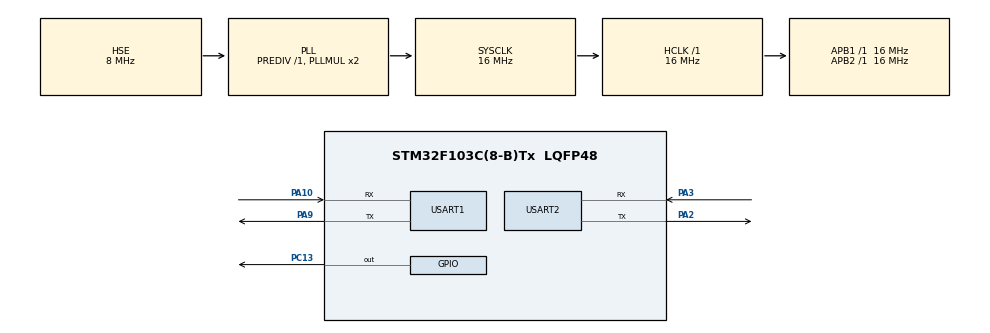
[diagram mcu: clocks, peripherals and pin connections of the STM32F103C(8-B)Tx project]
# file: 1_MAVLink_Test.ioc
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Mcu.Family=STM32F1
Mcu.Name=STM32F103C(8-B)Tx
Mcu.Package=LQFP48
NVIC.PriorityGroup=NVIC_PRIORITYGROUP_4
PA10.Mode=Asynchronous
PA10.Signal=USART1_RX
PA13.Mode=Serial_Wire
PA13.Signal=SYS_JTMS-SWDIO
PA14.Mode=Serial_Wire
PA14.Signal=SYS_JTCK-SWCLK
PA2.Mode=Asynchronous
PA2.Signal=USART2_TX
PA3.Mode=Asynchronous
PA3.Signal=USART2_RX
PA9.Mode=Asynchronous
PA9.Signal=USART1_TX
PC13-TAMPER-RTC.Signal=GPIO_Output
PD0-OSC_IN.Mode=HSE-External-Oscillator
PD0-OSC_IN.Signal=RCC_OSC_IN
PD1-OSC_OUT.Mode=HSE-External-Oscillator
PD1-OSC_OUT.Signal=RCC_OSC_OUT
ProjectManager.HeapSize=0x200
ProjectManager.StackSize=0x400
ProjectManager.TargetToolchain=MDK-ARM V5.32
RCC.AHBFreq_Value=16000000
RCC.APB1Freq_Value=16000000
RCC.APB1TimFreq_Value=16000000
RCC.APB2Freq_Value=16000000
RCC.APB2TimFreq_Value=16000000
RCC.HCLKFreq_Value=16000000
RCC.PLLSourceVirtual=RCC_PLLSOURCE_HSE
RCC.SYSCLKFreq_VALUE=16000000
RCC.SYSCLKSource=RCC_SYSCLKSOURCE_PLLCLK
RCC.USBFreq_Value=16000000
USART1.VirtualMode=VM_ASYNC
USART2.VirtualMode=VM_ASYNC
board=custom

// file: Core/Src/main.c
/* USER CODE BEGIN Header */
/**
  ******************************************************************************
  * @file           : main.c
  * @brief          : Main program body
  ******************************************************************************
  * @attention
  *
  * Copyright (c) 2023 STMicroelectronics.
  * All rights reserved.
  *
  * This software is licensed under terms that can be found in the LICENSE file
  * in the root directory of this software component.
  * If no LICENSE file comes with this software, it is provided AS-IS.
  *
  ******************************************************************************
  */
/* USER CODE END Header */
#include "main.h"
#include "usart.h"
#include "gpio.h"

/* USER CODE BEGIN Includes */
#include "mavlink_user.h"
#include "retarget.h"
/* USER CODE END Includes */

void SystemClock_Config(void);

/* USER CODE BEGIN 0 */
mavlink_gyro_t gyroStructToBeSend, gyroStructReceived;
mavlink_speed_t speedStructToBeSend, speedStructReceived;
/* USER CODE END 0 */

int main(void)
{

  /* MCU Configuration--------------------------------------------------------*/

  /* Reset of all peripherals, Initializes the Flash interface and the Systick. */
  HAL_Init();

  /* Configure the system clock */
  SystemClock_Config();

  /* Initialize all configured peripherals */
  MX_GPIO_Init();
  MX_USART1_UART_Init();
  MX_USART2_UART_Init();
  /* USER CODE BEGIN 2 */
  _Mavlink_BindChannel(&huart1,MAVLINK_COMM_0);
  _Mavlink_BindChannel(&huart2,MAVLINK_COMM_1);
  _Mavlink_StartReceiveIT(MAVLINK_COMM_0);

  /* USER CODE END 2 */

  /* Infinite loop */
  while (1)
  {

    /* USER CODE BEGIN 3 */
    gyroStructToBeSend.ax += 1;
    gyroStructToBeSend.ay += 2;
    gyroStructToBeSend.az += -2;
    speedStructToBeSend.rot += -1;
    speedStructToBeSend.vx += 0.5;
    speedStructToBeSend.vy += -0.5;
    mavlink_msg_gyro_send_struct(MAVLINK_COMM_1, &gyroStructToBeSend);
    mavlink_msg_speed_send_struct(MAVLINK_COMM_1, &speedStructToBeSend);
    HAL_Delay(100);
  }
  /* USER CODE END 3 */
}

void SystemClock_Config(void)
{
  RCC_OscInitTypeDef RCC_OscInitStruct = {0};
  RCC_ClkInitTypeDef RCC_ClkInitStruct = {0};

  /** Initializes the RCC Oscillators according to the specified parameters
  * in the RCC_OscInitTypeDef structure.
  */
  RCC_OscInitStruct.OscillatorType = RCC_OSCILLATORTYPE_HSE;
  RCC_OscInitStruct.HSEState = RCC_HSE_ON;
  RCC_OscInitStruct.HSEPredivValue = RCC_HSE_PREDIV_DIV1;
  RCC_OscInitStruct.HSIState = RCC_HSI_ON;
  RCC_OscInitStruct.PLL.PLLState = RCC_PLL_ON;
  RCC_OscInitStruct.PLL.PLLSource = RCC_PLLSOURCE_HSE;
  RCC_OscInitStruct.PLL.PLLMUL = RCC_PLL_MUL2;
  if (HAL_RCC_OscConfig(&RCC_OscInitStruct) != HAL_OK)
  {
    Error_Handler();
  }

  /** Initializes the CPU, AHB and APB buses clocks
  */
  RCC_ClkInitStruct.ClockType = RCC_CLOCKTYPE_HCLK|RCC_CLOCKTYPE_SYSCLK
                              |RCC_CLOCKTYPE_PCLK1|RCC_CLOCKTYPE_PCLK2;
  RCC_ClkInitStruct.SYSCLKSource = RCC_SYSCLKSOURCE_PLLCLK;
  RCC_ClkInitStruct.AHBCLKDivider = RCC_SYSCLK_DIV1;
  RCC_ClkInitStruct.APB1CLKDivider = RCC_HCLK_DIV1;
  RCC_ClkInitStruct.APB2CLKDivider = RCC_HCLK_DIV1;

  if (HAL_RCC_ClockConfig(&RCC_ClkInitStruct, FLASH_LATENCY_0) != HAL_OK)
  {
    Error_Handler();
  }
}

/* USER CODE BEGIN 4 */
void _Mavlink_MsgRxCpltCallback(mavlink_message_t *msg)
{
  switch (msg->msgid)
  {
    case MAVLINK_MSG_ID_SPEED:
      // 将接收到的消息解码
      mavlink_msg_speed_decode(msg, &speedStructReceived);
      break;
    case MAVLINK_MSG_ID_GYRO:
      // 将接收到的消息解码
      mavlink_msg_gyro_decode(msg, &gyroStructReceived);
      break;
      // ......
    default:
      break;
  }
}
/* USER CODE END 4 */

void Error_Handler(void)
{
  __disable_irq();
  while (1)
  {
  }
}
